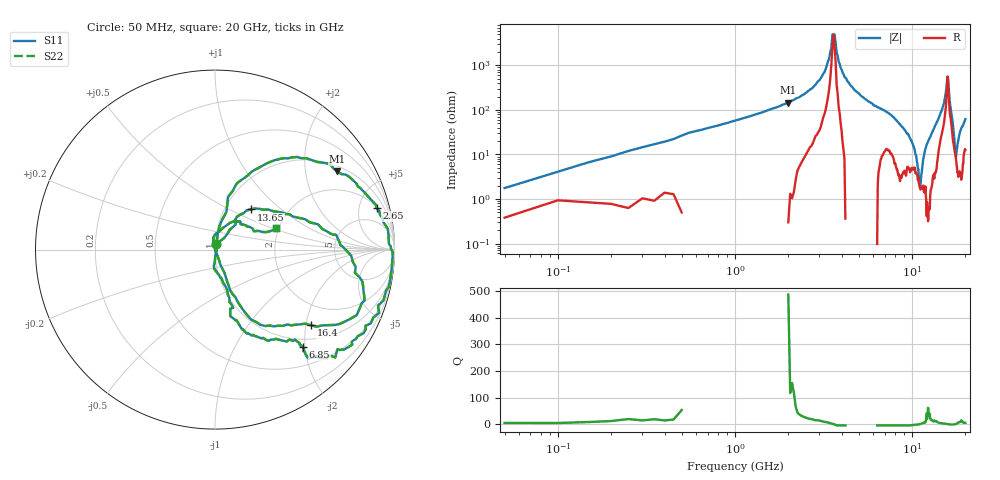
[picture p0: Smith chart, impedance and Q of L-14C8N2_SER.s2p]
# MHZ S MA R 50
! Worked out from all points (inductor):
!   400 points, 50 MHz to 20 GHz, reference 50 ohm
!   read as one part in series: L = 7.15 nH near 150 MHz
!   highest Q = 67.2 at 2 GHz (marker M1), where L = 11.7 nH
!   self-resonance near 3.55 GHz
!   S11 on the Smith chart (normalised r, x): 50 MHz: 1.01, +0.06; 2.65 GHz: 2.11, +7.26; 6.85 GHz: 0.84, -1.96; 13.65 GHz: 1.32, +0.65; 16.4 GHz: 1.36, -2.13; 20 GHz: 1.94, +0.53
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50  0.03 74.2  1 -0.3  1 -0.3  0.03 74.2
2000  0.81 32.6  0.56 -57.6  0.56 -57.6  0.81 32.6
2650  0.93 14.5  0.33 -72.5  0.33 -72.5  0.93 14.5
3400  0.99 -2.9  0.07 -81.2  0.07 -81.2  0.99 -2.9
6700  0.74 -48.2  0.65 37.0  0.65 37.0  0.74 -48.2
6850  0.73 -47.9  0.67 35.6  0.67 35.6  0.73 -47.9
10050  0.26 -74.1  0.94 3.1  0.94 3.1  0.26 -74.1
11600  0.05 -89.2  0.97 -12.1  0.97 -12.1  0.05 -89.2
11800  0.01 -72.3  0.97 -14.1  0.97 -14.1  0.01 -72.3
11850  0 -66.2  0.97 -14.5  0.97 -14.5  0 -66.2
11900  0.01 16.4  0.97 -15.1  0.97 -15.1  0.01 16.4
12100  0.04 102.0  0.97 -17.4  0.97 -17.4  0.04 102.0
13350  0.22 56.4  0.92 -31.7  0.92 -31.7  0.22 56.4
13650  0.3 48.2  0.9 -36.4  0.9 -36.4  0.3 48.2
16400  0.68 -38.3  0.47 17.9  0.47 17.9  0.68 -38.3
16700  0.57 -48.2  0.6 12.7  0.6 12.7  0.57 -48.2
17900  0.04 -67.3  0.92 -15.7  0.92 -15.7  0.04 -67.3
18000  0.01 -15.3  0.92 -17.7  0.92 -17.7  0.01 -15.3
18050  0 35.8  0.92 -18.8  0.92 -18.8  0 35.8
18100  0.01 58.6  0.92 -19.7  0.92 -19.7  0.01 58.6
18450  0.08 51.9  0.93 -26.0  0.93 -26.0  0.08 51.9
20000  0.36 19.2  0.87 -48.6  0.87 -48.6  0.36 19.2
